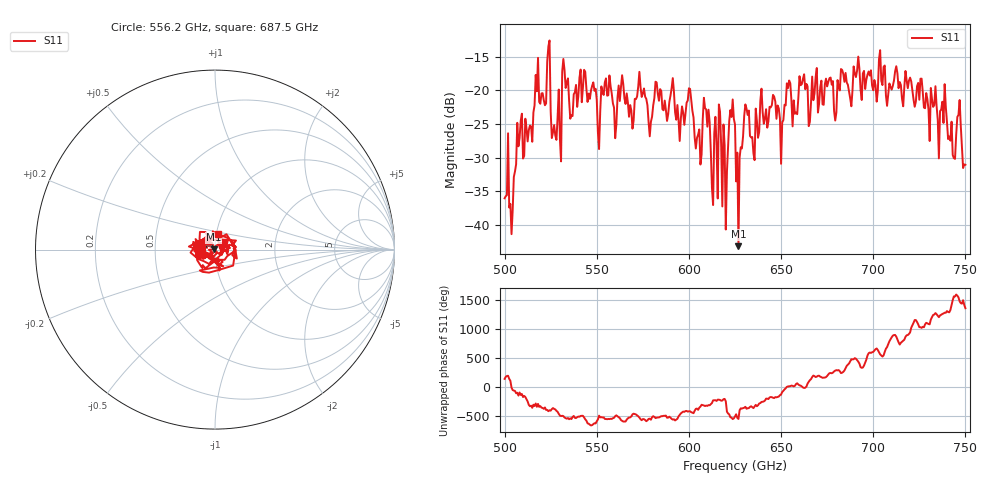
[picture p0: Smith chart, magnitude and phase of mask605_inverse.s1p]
!Created with skrf (http://scikit-rf.org).
# GHz S MA R 50.0
!freq magS11 angS11
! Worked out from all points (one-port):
!   401 points, 500 GHz to 750 GHz, reference 50 ohm
!   lowest |S11| = -43.2 dB at 626.9 GHz (marker M1), VSWR 1.01, Z = 49.3 + j0.201 ohm
!   |S11| at or under -10 dB: start of sweep to end of sweep
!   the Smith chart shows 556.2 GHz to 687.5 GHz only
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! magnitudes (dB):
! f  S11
! 500 GHz  -36.1
! 503.8 GHz  -41.4
! 508.1 GHz  -27.1
! 513.8 GHz  -25.2
! 517.5 GHz  -20.1
! 523.8 GHz  -13.5
! 526.9 GHz  -25.2
! 531.2 GHz  -17.2
! 562.5 GHz  -21.6
! 593.8 GHz  -22.2
! 600 GHz  -19.7
! 605.6 GHz  -25.8
! 609.4 GHz  -22.8
! 612.5 GHz  -34.5
! 617.5 GHz  -28.2
! 619.4 GHz  -28.2
! 623.1 GHz  -24.0
! 625 GHz  -25.1
! 626.9 GHz  -43.2
! 631.2 GHz  -22.7
! 634.4 GHz  -26.9
! 656.2 GHz  -25.4
! 687.5 GHz  -21.2
! 718.8 GHz  -19.7
! 738.1 GHz  -24.9
! 743.1 GHz  -29.6
! 746.2 GHz  -23.7
! 750 GHz  -31.1
